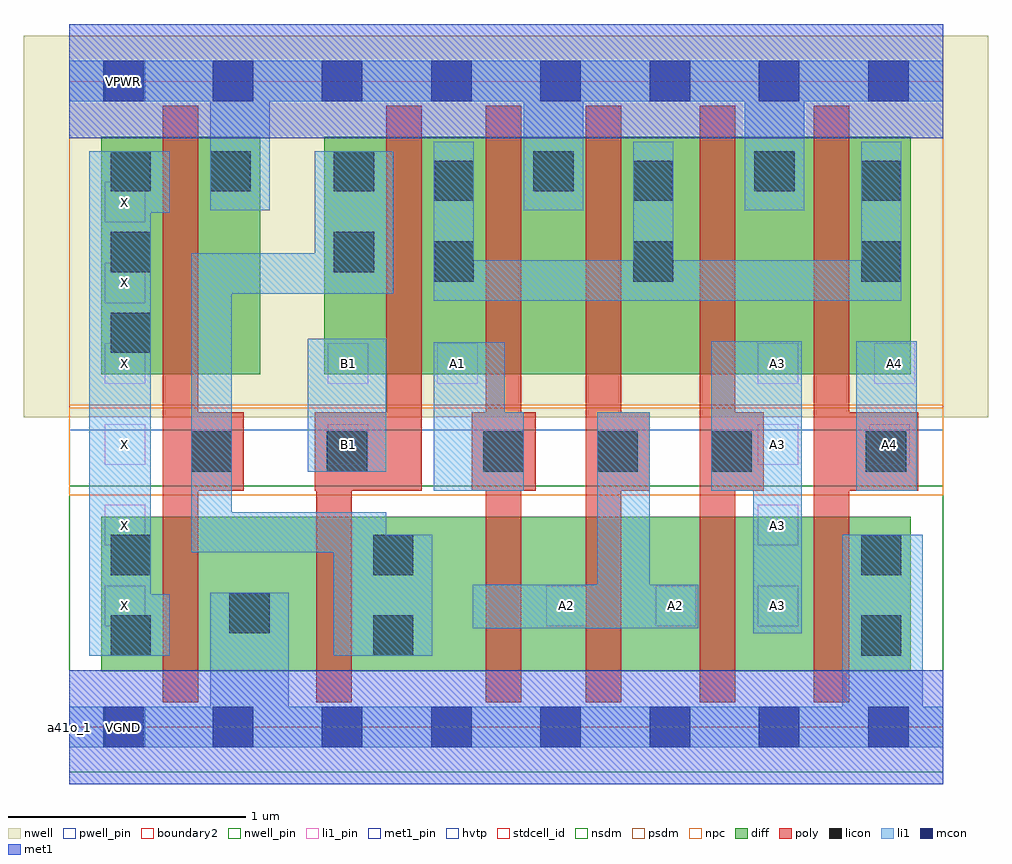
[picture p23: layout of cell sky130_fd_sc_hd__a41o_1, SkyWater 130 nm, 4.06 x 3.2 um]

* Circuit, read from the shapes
.subckt sky130_fd_sc_hd__a41o_1 A1 A2 A3 A4 B1 VGND VNB VPB VPWR X
XM1 VGND n1 X VNB sky130_fd_pr__nfet_01v8 w=0.65 l=0.15
XM2 n1 B1 VGND VNB sky130_fd_pr__nfet_01v8 w=0.65 l=0.15
XM3 n2 A1 n1 VNB sky130_fd_pr__nfet_01v8 w=0.65 l=0.15
XM4 n3 A2 n2 VNB sky130_fd_pr__nfet_01v8 w=0.65 l=0.15
XM5 n4 A3 n3 VNB sky130_fd_pr__nfet_01v8 w=0.65 l=0.15
XM6 VGND A4 n4 VNB sky130_fd_pr__nfet_01v8 w=0.65 l=0.15
XM7 VPWR n1 X VPB sky130_fd_pr__pfet_01v8_hvt w=1 l=0.15
XM8 n5 B1 n1 VPB sky130_fd_pr__pfet_01v8_hvt w=1 l=0.15
XM9 VPWR A1 n5 VPB sky130_fd_pr__pfet_01v8_hvt w=1 l=0.15
XM10 n5 A2 VPWR VPB sky130_fd_pr__pfet_01v8_hvt w=1 l=0.15
XM11 VPWR A3 n5 VPB sky130_fd_pr__pfet_01v8_hvt w=1 l=0.15
XM12 n5 A4 VPWR VPB sky130_fd_pr__pfet_01v8_hvt w=1 l=0.15
.ends

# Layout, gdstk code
import gdstk
lib = gdstk.Library(unit=1e-6, precision=1e-09)
def R(c, l, rs):  # rectangles x0, y0, x1, y1
    for r in rs: c.add(gdstk.rectangle(r[:2], r[2:], *l))
def A(c, l, x, y, w, h, nx, ny, dx, dy):  # array of equal rectangles
    R(c, l, [(x+i*dx, y+j*dy, x+i*dx+w, y+j*dy+h) for i in range(nx) for j in range(ny)])
def P(c, l, *ps):  # polygons
    for p in ps: c.add(gdstk.Polygon(p, *l))
nwell_pin = (64, 16)
nwell = (64, 20)
diff = (65, 20)
poly = (66, 20)
licon = (66, 44)
li1_pin = (67, 16)
li1 = (67, 20)
mcon = (67, 44)
met1_pin = (68, 16)
met1 = (68, 20)
hvtp = (78, 44)
stdcell_id = (81, 4)
nsdm = (93, 44)
psdm = (94, 20)
npc = (95, 20)
pwell_pin = (122, 16)
boundary2 = (236, 0)

sky130_fd_sc_hd__a41o_1 = lib.new_cell('sky130_fd_sc_hd__a41o_1')
R(sky130_fd_sc_hd__a41o_1, nwell_pin, [(0.15,2.635,0.32,2.805)])
R(sky130_fd_sc_hd__a41o_1, nwell, [(-0.19,1.305,3.87,2.91)])
R(sky130_fd_sc_hd__a41o_1, diff, [(0.135,0.235,3.545,0.885), (0.135,1.485,0.805,2.485), (1.075,1.485,3.545,2.485)])
P(sky130_fd_sc_hd__a41o_1, poly, [(3.575,1.325),(3.285,1.325),(3.285,2.615),(3.135,2.615),(3.135,0.105),(3.285,0.105),(3.285,0.995),(3.575,0.995)],
  [(2.925,1.325),(2.805,1.325),(2.805,2.615),(2.655,2.615),(2.655,0.105),(2.805,0.105),(2.805,0.995),(2.925,0.995)],
  [(2.445,1.325),(2.325,1.325),(2.325,2.615),(2.175,2.615),(2.175,0.105),(2.325,0.105),(2.325,0.995),(2.445,0.995)],
  [(1.965,1.325),(1.905,1.325),(1.905,2.615),(1.755,2.615),(1.755,1.325),(1.695,1.325),(1.695,0.995),(1.755,0.995),(1.755,0.105),(1.905,0.105),(1.905,0.995),(1.965,0.995)],
  [(1.485,2.615),(1.335,2.615),(1.335,1.325),(1.035,1.325),(1.035,0.995),(1.04,0.995),(1.04,0.105),(1.19,0.105),(1.19,0.995),(1.485,0.995)],
  [(0.735,1.325),(0.545,1.325),(0.545,2.615),(0.395,2.615),(0.395,0.105),(0.545,0.105),(0.545,0.995),(0.735,0.995)])
A(sky130_fd_sc_hd__a41o_1, licon, 1.745, 1.075, 0.17, 0.17, 3, 1, 0.48, 0)
A(sky130_fd_sc_hd__a41o_1, licon, 0.175, 1.575, 0.17, 0.17, 1, 3, 0, 0.34)
R(sky130_fd_sc_hd__a41o_1, licon, [(0.175,0.3,0.345,0.47), (1.28,0.3,1.45,0.47), (3.335,0.3,3.505,0.47), (0.675,0.395,0.845,0.565), (0.175,0.64,0.345,0.81), (1.28,0.64,1.45,0.81), (3.335,0.64,3.505,0.81), (0.515,1.075,0.685,1.245), (1.085,1.075,1.255,1.245), (3.355,1.075,3.525,1.245), (1.535,1.875,1.705,2.045), (2.375,1.875,2.545,2.045), (3.335,1.875,3.505,2.045), (1.115,1.915,1.285,2.085), (1.535,2.215,1.705,2.385), (2.375,2.215,2.545,2.385), (3.335,2.215,3.505,2.385), (0.595,2.255,0.765,2.425), (1.115,2.255,1.285,2.425), (1.955,2.255,2.125,2.425), (2.885,2.255,3.055,2.425)])
A(sky130_fd_sc_hd__a41o_1, li1_pin, 0.15, 0.425, 0.17, 0.17, 1, 6, 0, 0.34)
A(sky130_fd_sc_hd__a41o_1, li1_pin, 2.9, 0.425, 0.17, 0.17, 1, 4, 0, 0.34)
R(sky130_fd_sc_hd__a41o_1, li1_pin, [(2.01,0.425,2.18,0.595), (2.47,0.425,2.64,0.595), (1.09,1.105,1.26,1.275), (3.37,1.105,3.54,1.275), (1.09,1.445,1.26,1.615), (1.55,1.445,1.72,1.615), (3.39,1.445,3.56,1.615)])
R(sky130_fd_sc_hd__a41o_1, li1, [(3.315,0.995,3.57,1.625), (1.005,1.075,1.335,1.635)])
P(sky130_fd_sc_hd__a41o_1, li1, [(3.505,2.465),(3.335,2.465),(3.335,1.965),(2.545,1.965),(2.545,2.465),(2.375,2.465),(2.375,1.965),(1.705,1.965),(1.705,2.465),(1.535,2.465),(1.535,1.795),(3.505,1.795)],
  [(3.085,1.625),(2.705,1.625),(2.705,0.995),(2.88,0.995),(2.88,0.395),(3.085,0.395)],
  [(2.65,0.6),(2.445,0.6),(2.445,1.325),(2.225,1.325),(2.225,0.6),(1.7,0.6),(1.7,0.415),(2.65,0.415)],
  [(1.915,1.325),(1.835,1.325),(1.835,1.62),(1.535,1.62),(1.535,0.995),(1.915,0.995)],
  [(1.53,0.81),(1.335,0.81),(1.335,0.905),(0.685,0.905),(0.685,1.825),(1.365,1.825),(1.365,2.425),(1.035,2.425),(1.035,1.995),(0.515,1.995),(0.515,0.735),(1.115,0.735),(1.115,0.3),(1.53,0.3)],
  [(3.68,2.805),(0,2.805),(0,2.635),(0.595,2.635),(0.595,2.175),(0.845,2.175),(0.845,2.635),(1.915,2.635),(1.915,2.175),(2.165,2.175),(2.165,2.635),(2.845,2.635),(2.845,2.175),(3.095,2.175),(3.095,2.635),(3.68,2.635)],
  [(3.68,0.085),(3.595,0.085),(3.595,0.81),(3.255,0.81),(3.255,0.085),(0.925,0.085),(0.925,0.565),(0.595,0.565),(0.595,0.085),(0,0.085),(0,-0.085),(3.68,-0.085)],
  [(0.425,0.56),(0.345,0.56),(0.345,2.165),(0.425,2.165),(0.425,2.425),(0.085,2.425),(0.085,0.3),(0.425,0.3)])
A(sky130_fd_sc_hd__a41o_1, mcon, 0.145, -0.085, 0.17, 0.17, 8, 2, 0.46, 2.72)
R(sky130_fd_sc_hd__a41o_1, met1_pin, [(0.15,-0.085,0.32,0.085), (0.15,2.635,0.32,2.805)])
R(sky130_fd_sc_hd__a41o_1, hvtp, [(0,1.25,3.68,2.72)])
R(sky130_fd_sc_hd__a41o_1, stdcell_id, [(0,0,3.68,2.72)])
R(sky130_fd_sc_hd__a41o_1, nsdm, [(0,-0.19,3.68,1.015)])
R(sky130_fd_sc_hd__a41o_1, psdm, [(0,1.355,3.68,2.91)])
R(sky130_fd_sc_hd__a41o_1, npc, [(0,0.975,3.68,1.345)])
R(sky130_fd_sc_hd__a41o_1, pwell_pin, [(0.15,-0.085,0.32,0.085)])
R(sky130_fd_sc_hd__a41o_1, boundary2, [(0,0,3.68,2.72)])
sky130_fd_sc_hd__a41o_1.add(gdstk.FlexPath([(0,2.72),(3.68,2.72)], 0.48, ends="flush", simple_path=True, layer=68, datatype=20))  # met1
sky130_fd_sc_hd__a41o_1.add(gdstk.FlexPath([(0,0),(3.68,0)], 0.48, ends="flush", simple_path=True, layer=68, datatype=20))  # met1
sky130_fd_sc_hd__a41o_1.add(gdstk.Label('VGND', (0.23,0), layer=68, texttype=5))
sky130_fd_sc_hd__a41o_1.add(gdstk.Label('VPWR', (0.23,2.72), layer=68, texttype=5))
sky130_fd_sc_hd__a41o_1.add(gdstk.Label('A3', (2.985,1.53), layer=67, texttype=5))
sky130_fd_sc_hd__a41o_1.add(gdstk.Label('A4', (3.455,1.19), layer=67, texttype=5))
sky130_fd_sc_hd__a41o_1.add(gdstk.Label('A4', (3.475,1.53), layer=67, texttype=5))
sky130_fd_sc_hd__a41o_1.add(gdstk.Label('A3', (2.985,0.85), layer=67, texttype=5))
sky130_fd_sc_hd__a41o_1.add(gdstk.Label('A3', (2.985,1.19), layer=67, texttype=5))
sky130_fd_sc_hd__a41o_1.add(gdstk.Label('A2', (2.555,0.51), layer=67, texttype=5))
sky130_fd_sc_hd__a41o_1.add(gdstk.Label('X', (0.235,2.21), layer=67, texttype=5))
sky130_fd_sc_hd__a41o_1.add(gdstk.Label('A2', (2.095,0.51), layer=67, texttype=5))
sky130_fd_sc_hd__a41o_1.add(gdstk.Label('B1', (1.175,1.19), layer=67, texttype=5))
sky130_fd_sc_hd__a41o_1.add(gdstk.Label('A1', (1.635,1.53), layer=67, texttype=5))
sky130_fd_sc_hd__a41o_1.add(gdstk.Label('B1', (1.175,1.53), layer=67, texttype=5))
sky130_fd_sc_hd__a41o_1.add(gdstk.Label('X', (0.235,0.51), layer=67, texttype=5))
sky130_fd_sc_hd__a41o_1.add(gdstk.Label('X', (0.235,0.85), layer=67, texttype=5))
sky130_fd_sc_hd__a41o_1.add(gdstk.Label('X', (0.235,1.19), layer=67, texttype=5))
sky130_fd_sc_hd__a41o_1.add(gdstk.Label('X', (0.235,1.53), layer=67, texttype=5))
sky130_fd_sc_hd__a41o_1.add(gdstk.Label('X', (0.235,1.87), layer=67, texttype=5))
sky130_fd_sc_hd__a41o_1.add(gdstk.Label('A3', (2.985,0.51), layer=67, texttype=5))
sky130_fd_sc_hd__a41o_1.add(gdstk.Label('VPB', (0.23,2.72), layer=64, texttype=5))
sky130_fd_sc_hd__a41o_1.add(gdstk.Label('VNB', (0.23,0), layer=64, texttype=59))
sky130_fd_sc_hd__a41o_1.add(gdstk.Label('a41o_1', (0,0), layer=83, texttype=44))

lib.write_gds('sky130_fd_sc_hd__a41o_1.gds')
